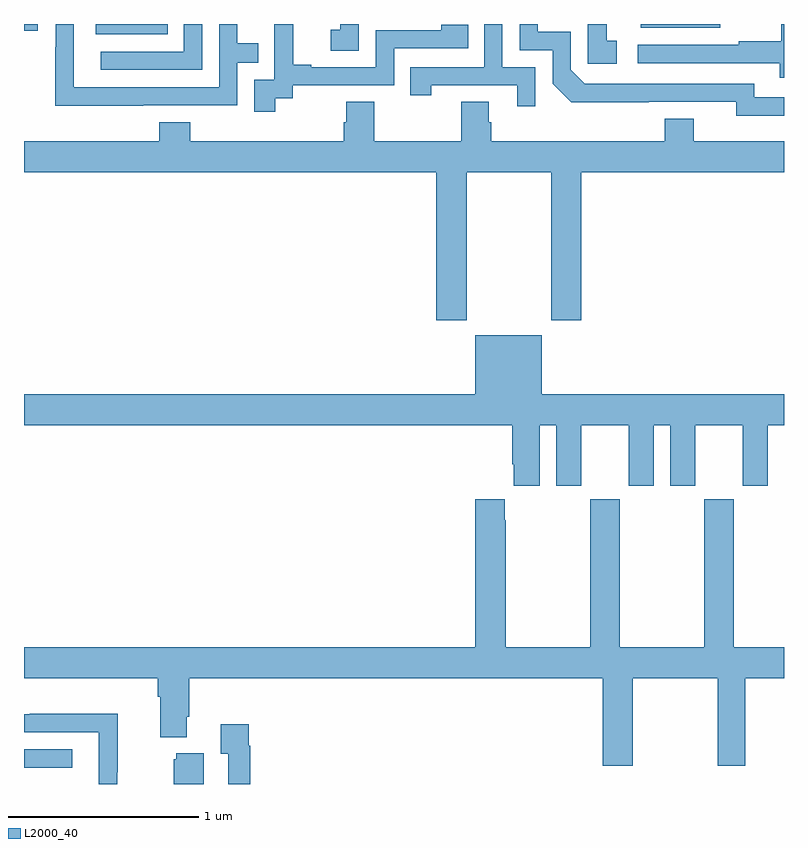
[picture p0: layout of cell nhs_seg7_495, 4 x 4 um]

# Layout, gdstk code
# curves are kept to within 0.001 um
import gdstk
lib = gdstk.Library(unit=1e-6, precision=1e-09)
def R(c, l, rs):  # rectangles x0, y0, x1, y1
    for r in rs: c.add(gdstk.rectangle(r[:2], r[2:], *l))
def P(c, l, *ps):  # polygons
    for p in ps: c.add(gdstk.Polygon(p, *l))
L2000_40 = (2000, 40)

nhs_seg7_495 = lib.new_cell('nhs_seg7_495')
R(nhs_seg7_495, L2000_40, [(149,1060.086,149.254,1060.182), (149.378,1063.946,149.756,1064), (149,1063.965,149.073,1064), (152.246,1063.979,152.665,1064)])
P(nhs_seg7_495, L2000_40, [(149.937,1064),(149.841,1064),(149.841,1063.854),(149.403,1063.854),(149.403,1063.758),(149.937,1063.758)],
  [(150.322,1063.609),(150.414,1063.609),(150.414,1063.677),(150.948,1063.677),(150.948,1063.872),(151.337,1063.872),(151.337,1063.995),(151.197,1063.995),(151.197,1063.968),(150.852,1063.968),(150.852,1063.773),(150.511,1063.773),(150.511,1063.786),(150.416,1063.786),(150.416,1064),(150.317,1064),(150.317,1063.937),(150.318,1063.937),(150.318,1063.707),(150.213,1063.707),(150.213,1063.539),(150.322,1063.539)],
  [(152.119,1063.911),(152.066,1063.911),(152.066,1064),(151.968,1064),(151.968,1063.791),(152.119,1063.791)],
  [(149.627,1063.572),(150.123,1063.572),(150.123,1063.797),(150.233,1063.797),(150.233,1063.898),(150.123,1063.898),(150.123,1064),(150.027,1064),(150.027,1063.668),(149.262,1063.668),(149.262,1064),(149.166,1064),(149.166,1063.877),(149.164,1063.877),(149.164,1063.571),(149.627,1063.571)],
  [(153,1064),(152.985,1064),(152.985,1063.91),(152.761,1063.91),(152.761,1063.89),(152.229,1063.89),(152.229,1063.794),(152.977,1063.794),(152.977,1063.716),(153,1063.716)],
  [(151.692,1063.773),(151.518,1063.773),(151.518,1064),(151.422,1064),(151.422,1063.773),(151.033,1063.773),(151.033,1063.626),(151.144,1063.626),(151.144,1063.677),(151.595,1063.677),(151.595,1063.566),(151.692,1063.566)],
  [(150.762,1064),(150.664,1064),(150.664,1063.969),(150.615,1063.969),(150.615,1063.86),(150.762,1063.86)],
  [(153,1063.614),(152.844,1063.614),(152.844,1063.686),(151.95,1063.686),(151.878,1063.758),(151.878,1063.959),(151.705,1063.959),(151.705,1064),(151.608,1064),(151.608,1063.863),(151.782,1063.863),(151.782,1063.686),(151.88,1063.589),(152.748,1063.59),(152.748,1063.517),(153,1063.517)],
  [(151.329,1063.22),(151.774,1063.22),(151.774,1062.441),(151.934,1062.441),(151.934,1063.22),(153,1063.22),(153,1063.384),(152.524,1063.384),(152.524,1063.501),(152.372,1063.501),(152.372,1063.384),(151.46,1063.384),(151.46,1063.482),(151.447,1063.482),(151.447,1063.592),(151.3,1063.592),(151.3,1063.384),(150.843,1063.384),(150.843,1063.592),(150.695,1063.592),(150.695,1063.482),(150.683,1063.482),(150.683,1063.384),(149.876,1063.384),(149.876,1063.483),(149.711,1063.483),(149.711,1063.384),(149,1063.384),(149,1063.22),(151.169,1063.22),(151.169,1062.441),(151.329,1062.441)],
  [(151.714,1061.888),(151.802,1061.888),(151.802,1061.571),(151.933,1061.571),(151.933,1061.888),(152.183,1061.888),(152.183,1061.571),(152.314,1061.571),(152.314,1061.888),(152.402,1061.888),(152.402,1061.571),(152.533,1061.571),(152.533,1061.888),(152.783,1061.888),(152.783,1061.571),(152.914,1061.571),(152.914,1061.888),(153,1061.888),(153,1062.052),(151.726,1062.052),(151.726,1062.361),(151.376,1062.361),(151.376,1062.052),(149,1062.052),(149,1061.888),(151.571,1061.888),(151.571,1061.683),(151.577,1061.683),(151.577,1061.571),(151.714,1061.571)],
  [(152.205,1060.556),(152.65,1060.556),(152.65,1060.095),(152.797,1060.095),(152.797,1060.556),(153,1060.556),(153,1060.72),(152.736,1060.72),(152.736,1061.5),(152.581,1061.5),(152.581,1060.72),(152.136,1060.72),(152.136,1061.5),(151.981,1061.5),(151.981,1060.72),(151.536,1060.72),(151.536,1061.387),(151.531,1061.387),(151.531,1061.5),(151.376,1061.5),(151.376,1060.72),(149,1060.72),(149,1060.556),(149.705,1060.556),(149.705,1060.46),(149.717,1060.46),(149.717,1060.247),(149.857,1060.247),(149.857,1060.354),(149.87,1060.354),(149.87,1060.556),(152.045,1060.556),(152.045,1060.095),(152.205,1060.095)],
  [(149.49,1060.063),(149.493,1060.063),(149.493,1060.37),(149.029,1060.37),(149.029,1060.368),(149,1060.368),(149,1060.272),(149.394,1060.272),(149.394,1060),(149.49,1060)],
  [(150.191,1060.202),(150.184,1060.202),(150.184,1060.315),(150.035,1060.315),(150.035,1060.159),(150.075,1060.159),(150.075,1060),(150.191,1060)],
  [(149.947,1060.162),(149.801,1060.162),(149.801,1060.131),(149.789,1060.131),(149.789,1060),(149.947,1060)])

lib.write_gds('nhs_seg7_495.gds')
